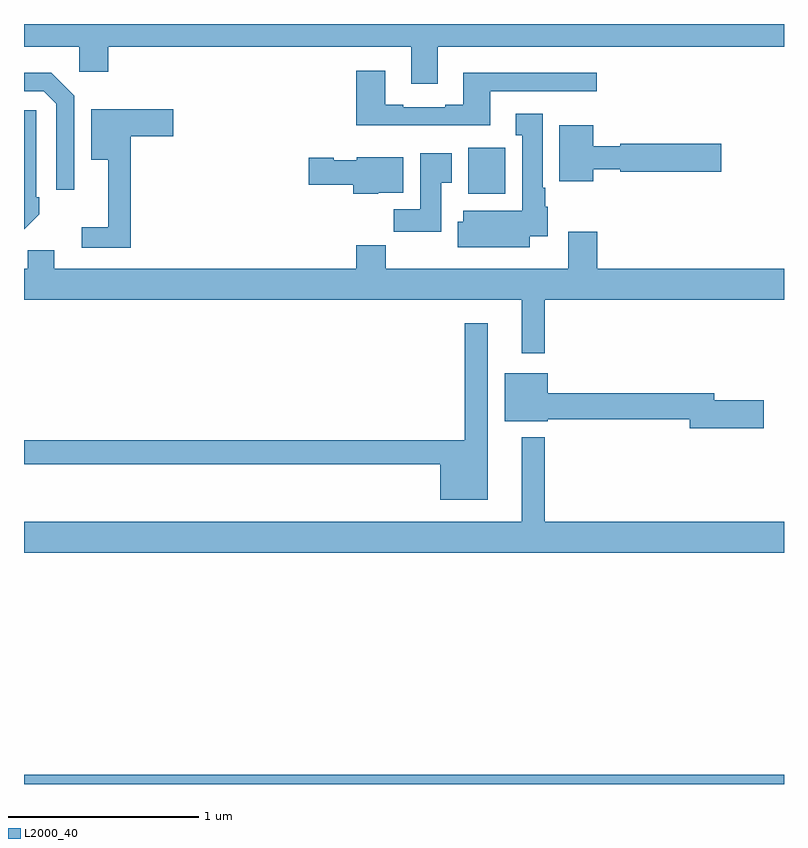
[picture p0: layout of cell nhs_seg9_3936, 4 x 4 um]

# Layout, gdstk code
import gdstk
lib = gdstk.Library(unit=1e-6, precision=1e-09)
def R(c, l, rs):  # rectangles x0, y0, x1, y1
    for r in rs: c.add(gdstk.rectangle(r[:2], r[2:], *l))
def P(c, l, *ps):  # polygons
    for p in ps: c.add(gdstk.Polygon(p, *l))
L2000_40 = (2000, 40)

nhs_seg9_3936 = lib.new_cell('nhs_seg9_3936')
R(nhs_seg9_3936, L2000_40, [(335,1232.5,339,1232.548), (337.337,1235.606,337.534,1235.848)])
P(nhs_seg9_3936, L2000_40, [(337.177,1236.38),(339,1236.38),(339,1236.5),(335,1236.5),(335,1236.38),(335.292,1236.38),(335.292,1236.249),(335.444,1236.249),(335.444,1236.38),(337.037,1236.38),(337.037,1236.186),(337.177,1236.186)],
  [(337.453,1236.147),(338.014,1236.147),(338.014,1236.244),(337.313,1236.244),(337.313,1236.076),(337.217,1236.076),(337.217,1236.063),(336.997,1236.063),(336.997,1236.076),(336.901,1236.076),(336.901,1236.253),(336.749,1236.253),(336.749,1235.966),(337.453,1235.966)],
  [(335.265,1236.123),(335.144,1236.244),(335,1236.244),(335,1236.147),(335.103,1236.147),(335.169,1236.081),(335.169,1235.628),(335.265,1235.628)],
  [(335.561,1235.909),(335.785,1235.909),(335.785,1236.051),(335.354,1236.051),(335.354,1235.786),(335.444,1235.786),(335.444,1235.431),(335.304,1235.431),(335.304,1235.322),(335.561,1235.322)],
  [(335.079,1235.499),(335.079,1235.587),(335.064,1235.587),(335.064,1236.045),(335,1236.045),(335,1235.42)],
  [(337.663,1235.384),(337.756,1235.384),(337.756,1235.538),(337.744,1235.538),(337.744,1235.638),(337.729,1235.638),(337.729,1236.028),(337.589,1236.028),(337.589,1235.915),(337.622,1235.915),(337.622,1235.518),(337.313,1235.518),(337.313,1235.459),(337.283,1235.459),(337.283,1235.324),(337.663,1235.324)],
  [(337.996,1235.736),(338.139,1235.736),(338.139,1235.723),(338.671,1235.723),(338.671,1235.87),(338.139,1235.87),(338.139,1235.857),(337.996,1235.857),(337.996,1235.968),(337.817,1235.968),(337.817,1235.672),(337.996,1235.672)],
  [(337.195,1235.665),(337.252,1235.665),(337.252,1235.821),(337.085,1235.821),(337.085,1235.524),(336.946,1235.524),(336.946,1235.406),(337.195,1235.406)],
  [(336.864,1235.612),(336.997,1235.612),(336.997,1235.8),(336.75,1235.8),(336.75,1235.782),(336.63,1235.782),(336.63,1235.795),(336.498,1235.795),(336.498,1235.653),(336.734,1235.653),(336.734,1235.606),(336.864,1235.606)],
  [(337.741,1235.048),(339,1235.048),(339,1235.212),(338.018,1235.212),(338.018,1235.407),(337.865,1235.407),(337.865,1235.212),(336.905,1235.212),(336.905,1235.336),(336.749,1235.336),(336.749,1235.212),(335.158,1235.212),(335.158,1235.31),(335.019,1235.31),(335.019,1235.212),(335,1235.212),(335,1235.048),(337.619,1235.048),(337.619,1234.767),(337.741,1234.767)],
  [(337.441,1234.924),(337.32,1234.924),(337.32,1234.31),(335,1234.31),(335,1234.182),(337.19,1234.182),(337.19,1233.995),(337.441,1233.995)],
  [(338.893,1234.52),(338.632,1234.52),(338.632,1234.556),(337.756,1234.556),(337.756,1234.663),(337.529,1234.663),(337.529,1234.409),(337.756,1234.409),(337.756,1234.42),(338.504,1234.42),(338.504,1234.373),(338.893,1234.373)],
  [(339,1233.88),(337.741,1233.88),(337.741,1234.324),(337.619,1234.324),(337.619,1233.88),(335,1233.88),(335,1233.716),(339,1233.716)])

lib.write_gds('nhs_seg9_3936.gds')
